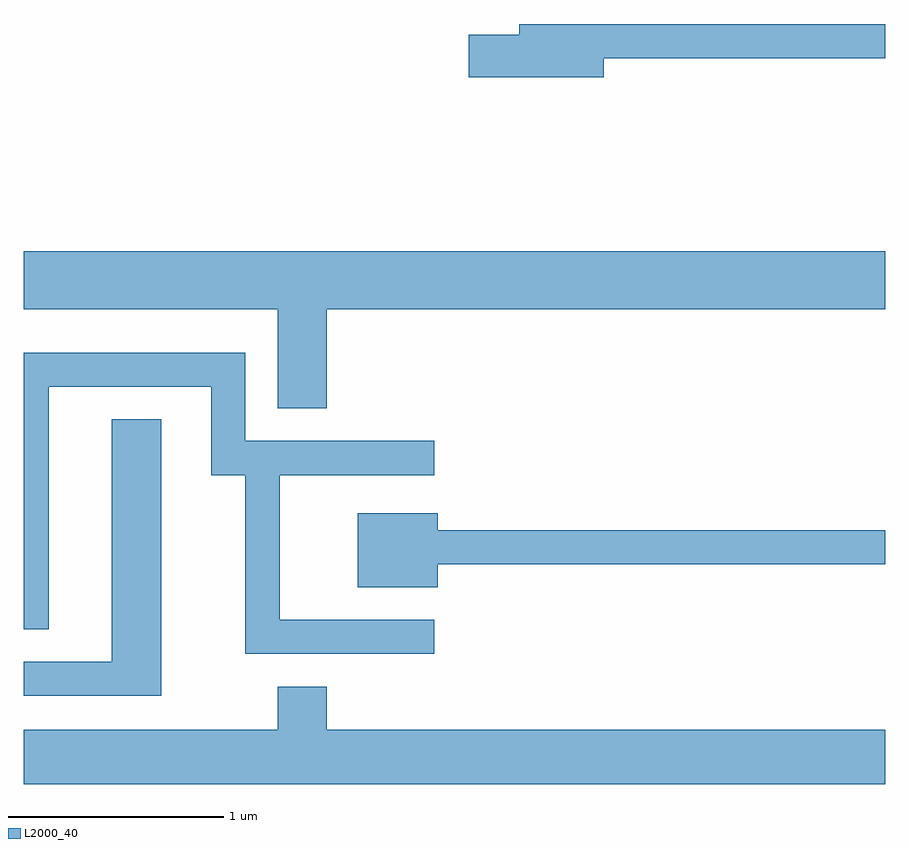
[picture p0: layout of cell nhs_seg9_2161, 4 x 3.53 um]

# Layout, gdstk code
import gdstk
lib = gdstk.Library(unit=1e-6, precision=1e-09)
def P(c, l, *ps):  # polygons
    for p in ps: c.add(gdstk.Polygon(p, *l))
L2000_40 = (2000, 40)

nhs_seg9_2161 = lib.new_cell('nhs_seg9_2161')
P(nhs_seg9_2161, L2000_40, [(250.304,2061.801),(251.611,2061.801),(251.611,2061.959),(249.911,2061.959),(249.911,2061.909),(249.676,2061.909),(249.676,2061.711),(250.304,2061.711)],
  [(249.019,2060.636),(251.611,2060.636),(251.611,2060.904),(247.611,2060.904),(247.611,2060.636),(248.791,2060.636),(248.791,2060.176),(249.019,2060.176)],
  [(249.518,2059.194),(248.799,2059.194),(248.799,2059.866),(249.518,2059.866),(249.518,2060.024),(248.639,2060.024),(248.639,2060.434),(247.611,2060.434),(247.611,2059.151),(247.729,2059.151),(247.729,2060.276),(248.481,2060.276),(248.481,2059.866),(248.641,2059.866),(248.641,2059.036),(249.518,2059.036)],
  [(248.249,2060.124),(248.021,2060.124),(248.021,2058.999),(247.611,2058.999),(247.611,2058.841),(248.249,2058.841)],
  [(249.534,2059.451),(251.611,2059.451),(251.611,2059.609),(249.534,2059.609),(249.534,2059.689),(249.161,2059.689),(249.161,2059.346),(249.534,2059.346)],
  [(251.611,2058.684),(249.019,2058.684),(249.019,2058.884),(248.791,2058.884),(248.791,2058.684),(247.611,2058.684),(247.611,2058.432),(251.611,2058.432)])

lib.write_gds('nhs_seg9_2161.gds')
